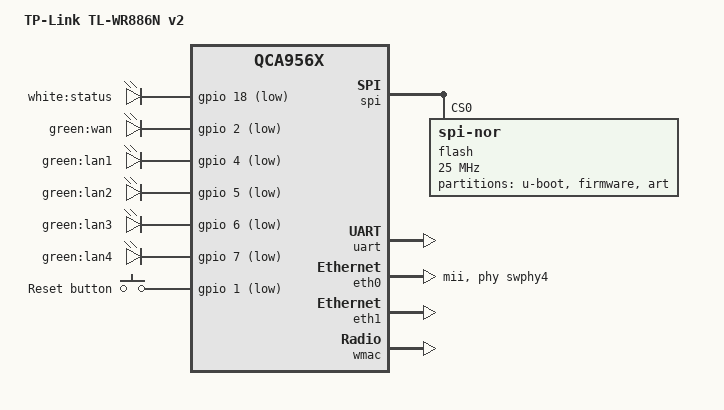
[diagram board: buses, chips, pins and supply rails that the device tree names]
// SPDX-License-Identifier: GPL-2.0-or-later OR MIT

#include "qca956x.dtsi"

#include <dt-bindings/gpio/gpio.h>
#include <dt-bindings/input/input.h>

/ {
    compatible = "tplink,tl-wr886n-v2", "qca,tp9343";
    model = "TP-Link TL-WR886N v2";

	chosen {
		bootargs = "console=ttyS0,115200n8";
	};

    aliases {
        led-boot = &led_system;
        led-failsafe = &led_system;
        led-running = &led_system;
        led-upgrade = &led_system;
        label-mac-device = &wmac;
    };

	leds {
		compatible = "gpio-leds";

		led_system: system {
			label = "white:status";
			gpios = <&gpio 18 GPIO_ACTIVE_LOW>;
		};

		wan {
			label = "green:wan";
			gpios = <&gpio 2 GPIO_ACTIVE_LOW>;
		};

		lan1 {
			label = "green:lan1";
			gpios = <&gpio 4 GPIO_ACTIVE_LOW>;
		};

		lan2 {
			label = "green:lan2";
			gpios = <&gpio 5 GPIO_ACTIVE_LOW>;
		};

		lan3 {
			label = "green:lan3";
			gpios = <&gpio 6 GPIO_ACTIVE_LOW>;
		};

		lan4 {
			label = "green:lan4";
			gpios = <&gpio 7 GPIO_ACTIVE_LOW>;
		};
	};

	keys {
		compatible = "gpio-keys";

		reset {
			label = "Reset button";
			linux,code = <KEY_RESTART>;
			gpios = <&gpio 1 GPIO_ACTIVE_LOW>;
		};
	};
};

&spi {
	status = "okay";

	flash@0 {
		compatible = "jedec,spi-nor";
		reg = <0>;
		spi-max-frequency = <25000000>;

		partitions {
			compatible = "fixed-partitions";
			#address-cells = <1>;
			#size-cells = <1>;

			uboot: partition@0 {
				label = "u-boot";
				reg = <0x000000 0x020000>;
				read-only;
			};

			partition@20000 {
				compatible = "tplink,firmware";
				label = "firmware";
				reg = <0x020000 0xfd0000>;
			};

			art: partition@ff0000 {
				label = "art";
				reg = <0xff0000 0x010000>;
				read-only;
			};
		};
	};
};

&uart {
	status = "okay";
};

//wan ports
&eth0 {
	status = "okay";

	phy-mode = "mii";
	phy-handle = <&swphy4>;

	nvmem-cells = <&macaddr_uboot_1fc00>;
	nvmem-cell-names = "mac-address";
	mac-address-increment = <1>;
};

//lan ports
&eth1 {
    status = "okay";

	nvmem-cells = <&macaddr_uboot_1fc00>;
	nvmem-cell-names = "mac-address";
	mac-address-increment = <(-1)>;
};

&wmac {
	status = "okay";

	mtd-cal-data = <&art 0x1000>;
	nvmem-cells = <&macaddr_uboot_1fc00>;
	nvmem-cell-names = "mac-address";
};

&uboot {
	compatible = "nvmem-cells";
	#address-cells = <1>;
	#size-cells = <1>;

	macaddr_uboot_1fc00: macaddr@1fc00 {
		reg = <0x1fc00 0x6>;
	};
};
